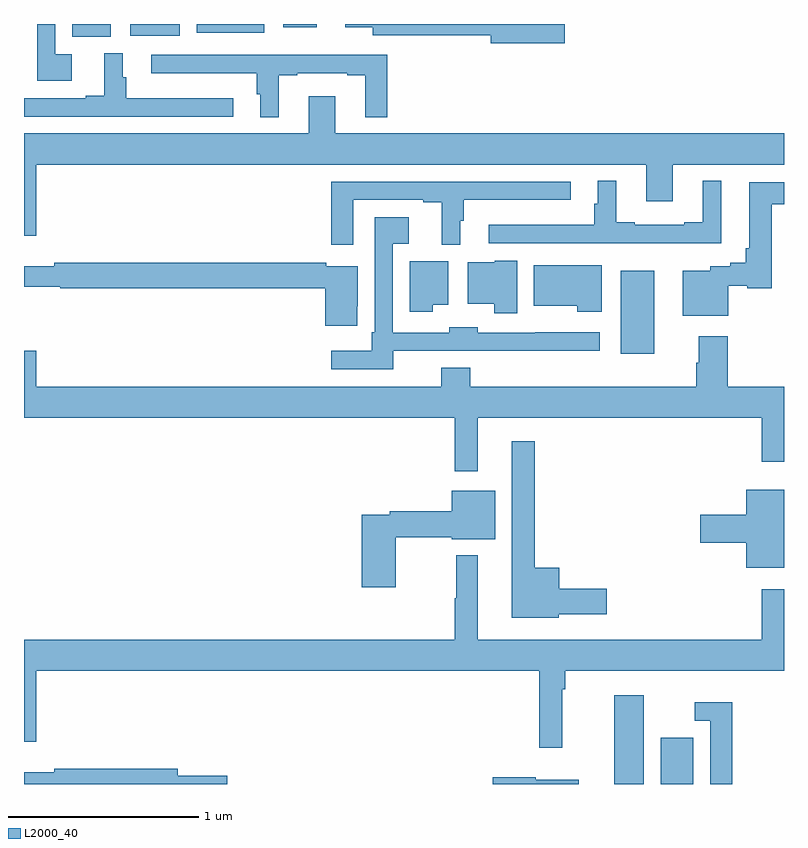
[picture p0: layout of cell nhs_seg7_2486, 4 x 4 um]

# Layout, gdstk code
import gdstk
lib = gdstk.Library(unit=1e-6, precision=1e-09)
def R(c, l, rs):  # rectangles x0, y0, x1, y1
    for r in rs: c.add(gdstk.rectangle(r[:2], r[2:], *l))
def P(c, l, *ps):  # polygons
    for p in ps: c.add(gdstk.Polygon(p, *l))
L2000_40 = (2000, 40)

nhs_seg7_2486 = lib.new_cell('nhs_seg7_2486')
R(nhs_seg7_2486, L2000_40, [(276.107,1020,276.262,1020.466), (276.35,1020,276.523,1020.244), (276.14,1022.264,276.316,1022.701), (273.254,1023.932,273.457,1024), (273.56,1023.938,273.82,1024), (273.908,1023.953,274.264,1024), (274.364,1023.983,274.54,1024)])
P(nhs_seg7_2486, L2000_40, [(273.25,1023.841),(273.165,1023.841),(273.165,1024),(273.069,1024),(273.069,1023.701),(273.25,1023.701)],
  [(275.845,1024),(274.691,1024),(274.691,1023.983),(274.836,1023.983),(274.836,1023.94),(275.456,1023.94),(275.456,1023.898),(275.845,1023.898)],
  [(274.102,1023.61),(273.539,1023.61),(273.539,1023.72),(273.52,1023.72),(273.52,1023.847),(273.422,1023.847),(273.422,1023.622),(273.326,1023.622),(273.326,1023.609),(273,1023.609),(273,1023.513),(274.102,1023.513)],
  [(274.342,1023.729),(274.438,1023.729),(274.438,1023.741),(274.7,1023.741),(274.7,1023.729),(274.796,1023.729),(274.796,1023.509),(274.913,1023.509),(274.913,1023.838),(274.368,1023.838),(274.368,1023.837),(273.669,1023.837),(273.669,1023.74),(274.225,1023.74),(274.225,1023.63),(274.244,1023.63),(274.244,1023.509),(274.342,1023.509)],
  [(273.064,1023.26),(276.275,1023.26),(276.275,1023.066),(276.415,1023.066),(276.415,1023.26),(277,1023.26),(277,1023.424),(274.639,1023.424),(274.639,1023.619),(274.499,1023.619),(274.499,1023.424),(273,1023.424),(273,1022.886),(273.064,1022.886)],
  [(276.67,1023.175),(276.572,1023.175),(276.572,1022.956),(276.476,1022.956),(276.476,1022.943),(276.214,1022.943),(276.214,1022.956),(276.118,1022.956),(276.118,1023.175),(276.02,1023.175),(276.02,1023.054),(276.001,1023.054),(276.001,1022.944),(275.445,1022.944),(275.445,1022.847),(276.144,1022.847),(276.144,1022.846),(276.67,1022.846)],
  [(274.734,1023.075),(275.102,1023.075),(275.102,1023.063),(275.198,1023.063),(275.198,1022.838),(275.296,1022.838),(275.296,1022.964),(275.315,1022.964),(275.315,1023.074),(275.878,1023.074),(275.878,1023.171),(274.618,1023.171),(274.618,1022.838),(274.734,1022.838)],
  [(276.706,1022.623),(276.807,1022.623),(276.807,1022.608),(276.935,1022.608),(276.935,1023.052),(277,1023.052),(277,1023.168),(276.818,1023.168),(276.818,1022.821),(276.799,1022.821),(276.799,1022.744),(276.717,1022.744),(276.717,1022.724),(276.612,1022.724),(276.612,1022.701),(276.467,1022.701),(276.467,1022.465),(276.706,1022.465)],
  [(274.944,1022.279),(276.031,1022.279),(276.031,1022.377),(275.692,1022.377),(275.692,1022.376),(275.388,1022.376),(275.388,1022.404),(275.238,1022.404),(275.238,1022.376),(274.941,1022.376),(274.941,1022.843),(275.026,1022.843),(275.026,1022.983),(274.845,1022.983),(274.845,1022.377),(274.829,1022.377),(274.829,1022.281),(274.617,1022.281),(274.617,1022.184),(274.944,1022.184)],
  [(275.596,1022.755),(275.478,1022.755),(275.478,1022.746),(275.336,1022.746),(275.336,1022.528),(275.474,1022.528),(275.474,1022.478),(275.596,1022.478)],
  [(275.152,1022.522),(275.233,1022.522),(275.233,1022.752),(275.03,1022.752),(275.03,1022.486),(275.152,1022.486)],
  [(274.755,1022.515),(274.756,1022.515),(274.756,1022.724),(274.592,1022.724),(274.592,1022.744),(273.16,1022.744),(273.16,1022.725),(273,1022.725),(273,1022.616),(273.19,1022.616),(273.19,1022.608),(274.586,1022.608),(274.586,1022.412),(274.755,1022.412)],
  [(276.04,1022.731),(275.684,1022.731),(275.684,1022.516),(275.911,1022.516),(275.911,1022.486),(276.04,1022.486)],
  [(275.389,1021.928),(276.883,1021.928),(276.883,1021.695),(277,1021.695),(277,1022.092),(276.704,1022.092),(276.704,1022.356),(276.551,1022.356),(276.551,1022.216),(276.539,1022.216),(276.539,1022.092),(275.348,1022.092),(275.348,1022.191),(275.195,1022.191),(275.195,1022.092),(273.064,1022.092),(273.064,1022.281),(273,1022.281),(273,1021.928),(275.268,1021.928),(275.268,1021.647),(275.389,1021.647)],
  [(275.814,1020.893),(276.067,1020.893),(276.067,1021.028),(275.818,1021.028),(275.818,1021.138),(275.689,1021.138),(275.689,1021.804),(275.567,1021.804),(275.567,1020.875),(275.814,1020.875)],
  [(277,1021.549),(276.8,1021.549),(276.8,1021.418),(276.558,1021.418),(276.558,1021.271),(276.8,1021.271),(276.8,1021.139),(277,1021.139)],
  [(274.956,1021.3),(275.252,1021.3),(275.252,1021.289),(275.479,1021.289),(275.479,1021.543),(275.252,1021.543),(275.252,1021.436),(274.924,1021.436),(274.924,1021.416),(274.778,1021.416),(274.778,1021.035),(274.956,1021.035)],
  [(275.834,1020.5),(275.849,1020.5),(275.849,1020.596),(277,1020.596),(277,1021.024),(276.883,1021.024),(276.883,1020.76),(275.389,1020.76),(275.389,1021.204),(275.275,1021.204),(275.275,1020.977),(275.268,1020.977),(275.268,1020.76),(273,1020.76),(273,1020.222),(273.064,1020.222),(273.064,1020.596),(275.713,1020.596),(275.713,1020.192),(275.834,1020.192)],
  [(276.728,1020.43),(276.531,1020.43),(276.531,1020.333),(276.612,1020.333),(276.612,1020),(276.728,1020)],
  [(274.069,1020.044),(273.808,1020.044),(273.808,1020.08),(273.16,1020.08),(273.16,1020.061),(273,1020.061),(273,1020),(274.069,1020)],
  [(275.92,1020.022),(275.694,1020.022),(275.694,1020.035),(275.466,1020.035),(275.466,1020),(275.92,1020)])

lib.write_gds('nhs_seg7_2486.gds')
